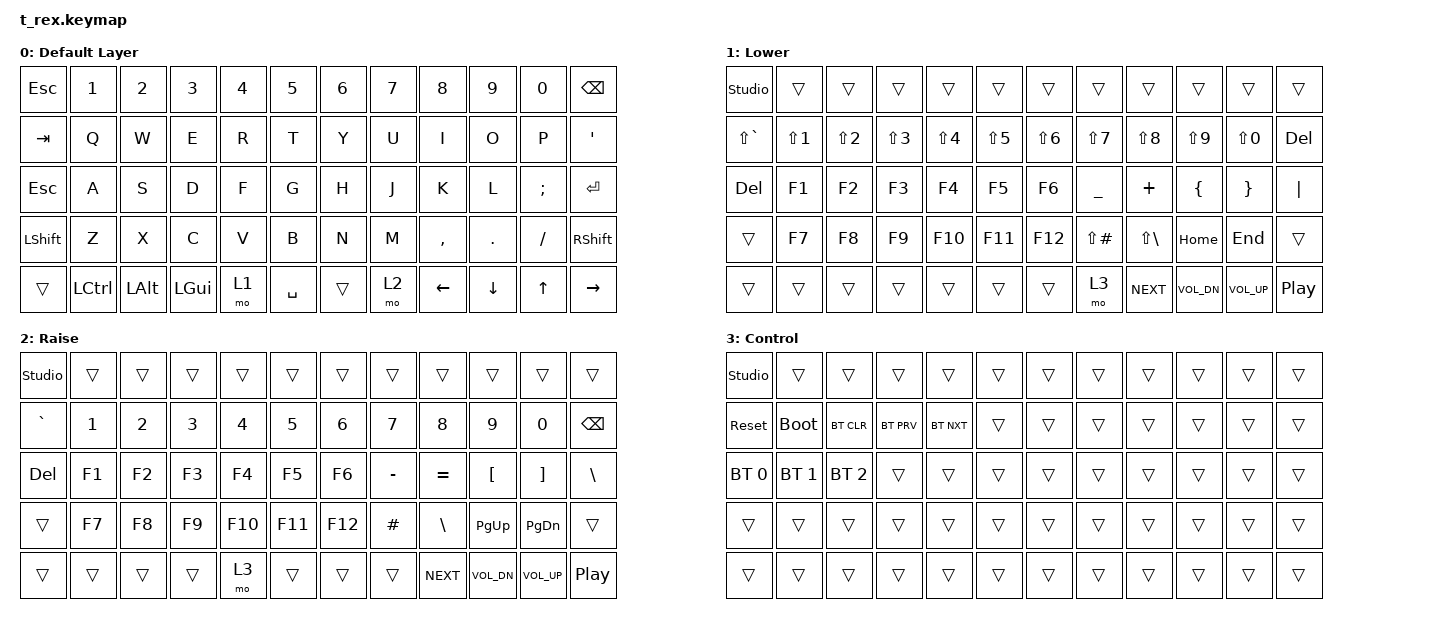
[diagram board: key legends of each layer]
/*
 * Copyright (c) 2020 The ZMK Contributors
 *
 * SPDX-License-Identifier: MIT
 */

#include <behaviors.dtsi>
#include <dt-bindings/zmk/keys.h>
#include <dt-bindings/zmk/bt.h>

/ {
    keymap {
        compatible = "zmk,keymap";

        default_layer {
            display-name = "Default Layer";
            // |  ESC  |  1   |  2   |  3   |  4   |  5   |   6   |  7    |  8   |  9   |   0   | BSPC  |
            // |  TAB  |  Q   |  W   |  E   |  R   |  T   |   Y   |  U    |  I   |  O   |   P   | BSPC  |
            // |  ESC  |  A   |  S   |  D   |  F   |  G   |   H   |  J    |  K   |  L   |   ;   |  RET  |
            // | SHIFT |  Z   |  X   |  C   |  V   |  B   |   N   |  M    |  ,   |  .   |   /   | SHIFT |
            // |       | LCTRL | LALT | LGUI | LOWR |     SPACE    |  RAIS | LEFT | DOWN | UP  |  RIGHT |
            bindings = <
                &kp ESC  &kp N1   &kp N2  &kp N3 &kp N4 &kp N5 &kp N6 &kp N7 &kp N8 &kp N9 &kp N0 &kp BSPC
                &kp TAB  &kp Q    &kp W   &kp E &kp R &kp T  &kp Y   &kp U  &kp I    &kp O   &kp P    &kp SQT
                &kp ESC  &kp A    &kp S   &kp D &kp F &kp G  &kp H   &kp J  &kp K    &kp L   &kp SEMI &kp RET
                &kp LSHFT &kp Z   &kp X   &kp C &kp V &kp B  &kp N   &kp M  &kp COMMA &kp DOT &kp SLASH &kp RSHFT
                &trans  &kp LCTRL &kp LALT &kp LGUI &mo 1 &kp SPACE &trans &mo 2 &kp LEFT &kp DOWN &kp UP &kp RIGHT
            >;
        };

        lower {
            display-name = "Lower";
            bindings = <
                &studio_unlock &trans &trans &trans &trans &trans &trans &trans &trans &trans &trans &trans
                &kp LS(GRAVE) &kp LS(N1) &kp LS(N2) &kp LS(N3) &kp LS(N4) &kp LS(N5) &kp LS(N6) &kp LS(N7) &kp LS(N8) &kp LS(N9) &kp LS(N0) &kp DEL
                &kp DEL &kp F1 &kp F2 &kp F3 &kp F4 &kp F5 &kp F6 &kp UNDER &kp PLUS &kp LBRC &kp RBRC &kp PIPE
                &trans &kp F7 &kp F8 &kp F9 &kp F10 &kp F11 &kp F12 &kp LS(HASH) &kp LS(BSLH) &kp HOME &kp END &trans
                &trans &trans &trans &trans &trans &trans &trans &mo 3 &kp C_NEXT &kp C_VOL_DN &kp C_VOL_UP &kp C_PP
            >;
        };

        raise {
            display-name = "Raise";
            bindings = <
                &studio_unlock &trans &trans &trans &trans &trans &trans &trans &trans &trans &trans &trans
                &kp GRAVE &kp N1 &kp N2 &kp N3 &kp N4 &kp N5 &kp N6 &kp N7 &kp N8 &kp N9 &kp N0 &kp BSPC
                &kp DEL &kp F1 &kp F2 &kp F3 &kp F4 &kp F5 &kp F6 &kp MINUS &kp EQUAL &kp LBKT &kp RBKT &kp BSLH
                &trans &kp F7 &kp F8 &kp F9 &kp F10 &kp F11 &kp F12 &kp HASH &kp BSLH &kp PG_UP &kp PG_DN &trans
                &trans &trans &trans &trans &mo 3 &trans &trans &trans &kp C_NEXT &kp C_VOL_DN &kp C_VOL_UP &kp C_PP
            >;
        };

        control {
            display-name = "Control";
            bindings = <
                &studio_unlock &trans &trans &trans &trans &trans &trans &trans &trans &trans &trans &trans
                &sys_reset &bootloader &bt BT_CLR &bt BT_PRV &bt BT_NXT &trans &trans &trans &trans &trans &trans &trans
                &bt BT_SEL 0 &bt BT_SEL 1 &bt BT_SEL 2 &trans &trans &trans &trans &trans &trans &trans &trans &trans
                &trans &trans &trans &trans &trans &trans &trans &trans &trans &trans &trans &trans
                &trans &trans &trans &trans &trans &trans &trans &trans &trans &trans &trans &trans
            >;
        };
    };
};
